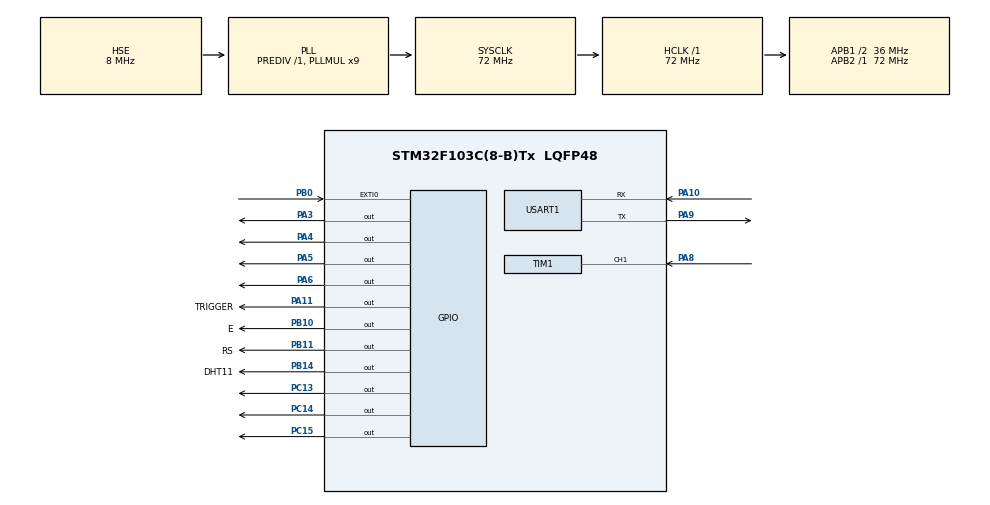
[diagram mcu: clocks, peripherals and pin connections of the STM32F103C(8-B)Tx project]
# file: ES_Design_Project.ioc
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Dma.Request0=USART1_RX
Dma.Request1=USART1_TX
Dma.USART1_RX.0.Direction=DMA_PERIPH_TO_MEMORY
Dma.USART1_RX.0.Instance=DMA1_Channel5
Dma.USART1_RX.0.MemDataAlignment=DMA_MDATAALIGN_BYTE
Dma.USART1_RX.0.MemInc=DMA_MINC_ENABLE
Dma.USART1_RX.0.Mode=DMA_NORMAL
Dma.USART1_RX.0.PeriphDataAlignment=DMA_PDATAALIGN_BYTE
Dma.USART1_RX.0.PeriphInc=DMA_PINC_DISABLE
Dma.USART1_RX.0.Priority=DMA_PRIORITY_LOW
Dma.USART1_TX.1.Direction=DMA_MEMORY_TO_PERIPH
Dma.USART1_TX.1.Instance=DMA1_Channel4
Dma.USART1_TX.1.MemDataAlignment=DMA_MDATAALIGN_BYTE
Dma.USART1_TX.1.MemInc=DMA_MINC_ENABLE
Dma.USART1_TX.1.Mode=DMA_NORMAL
Dma.USART1_TX.1.PeriphDataAlignment=DMA_PDATAALIGN_BYTE
Dma.USART1_TX.1.PeriphInc=DMA_PINC_DISABLE
Dma.USART1_TX.1.Priority=DMA_PRIORITY_LOW
Mcu.Family=STM32F1
Mcu.Name=STM32F103C(8-B)Tx
Mcu.Package=LQFP48
NVIC.DMA1_Channel4_IRQn=true\:1\:0\:true\:false\:true\:false\:true\:true
NVIC.DMA1_Channel5_IRQn=true\:1\:0\:true\:false\:true\:false\:true\:true
NVIC.EXTI0_IRQn=true\:0\:0\:false\:false\:true\:true\:true\:true
NVIC.PriorityGroup=NVIC_PRIORITYGROUP_4
NVIC.TIM1_CC_IRQn=true\:1\:0\:true\:false\:true\:true\:true\:true
NVIC.TIM1_UP_IRQn=true\:0\:0\:false\:false\:true\:true\:true\:true
NVIC.TIM4_IRQn=true\:1\:0\:true\:false\:true\:true\:true\:true
NVIC.USART1_IRQn=true\:1\:0\:true\:false\:true\:true\:true\:true
PA10.Mode=Asynchronous
PA10.Signal=USART1_RX
PA11.GPIO_Label=TRIGGER
PA11.Signal=GPIO_Output
PA13.Mode=Serial_Wire
PA13.Signal=SYS_JTMS-SWDIO
PA14.Mode=Serial_Wire
PA14.Signal=SYS_JTCK-SWCLK
PA3.Signal=GPIO_Output
PA4.Signal=GPIO_Output
PA5.Signal=GPIO_Output
PA6.Signal=GPIO_Output
PA8.Signal=S_TIM1_CH1
PA9.Mode=Asynchronous
PA9.Signal=USART1_TX
PB0.GPIO_ModeDefaultEXTI=GPIO_MODE_IT_FALLING
PB0.Signal=GPXTI0
PB10.GPIO_Label=E
PB10.Signal=GPIO_Output
PB11.GPIO_Label=RS
PB11.Signal=GPIO_Output
PB14.GPIO_Label=DHT11
PB14.Signal=GPIO_Output
PC13-TAMPER-RTC.PinState=GPIO_PIN_SET
PC13-TAMPER-RTC.Signal=GPIO_Output
PC14-OSC32_IN.PinState=GPIO_PIN_SET
PC14-OSC32_IN.Signal=GPIO_Output
PC15-OSC32_OUT.PinState=GPIO_PIN_SET
PC15-OSC32_OUT.Signal=GPIO_Output
PD0-OSC_IN.Mode=HSE-External-Oscillator
PD0-OSC_IN.Signal=RCC_OSC_IN
PD1-OSC_OUT.Mode=HSE-External-Oscillator
PD1-OSC_OUT.Signal=RCC_OSC_OUT
ProjectManager.HeapSize=0x200
ProjectManager.StackSize=0x400
ProjectManager.TargetToolchain=STM32CubeIDE
RCC.AHBFreq_Value=72000000
RCC.APB1CLKDivider=RCC_HCLK_DIV2
RCC.APB1Freq_Value=36000000
RCC.APB1TimFreq_Value=72000000
RCC.APB2Freq_Value=72000000
RCC.APB2TimFreq_Value=72000000
RCC.HCLKFreq_Value=72000000
RCC.PLLMUL=RCC_PLL_MUL9
RCC.PLLSourceVirtual=RCC_PLLSOURCE_HSE
RCC.SYSCLKFreq_VALUE=72000000
RCC.SYSCLKSource=RCC_SYSCLKSOURCE_PLLCLK
RCC.USBFreq_Value=72000000
SH.S_TIM1_CH1.0=TIM1_CH1,Input_Capture1_from_TI1
TIM1.Channel-Input_Capture1_from_TI1=TIM_CHANNEL_1
TIM1.Prescaler=71
TIM4.Period=50000
TIM4.Prescaler=7200 - 1
USART1.VirtualMode=VM_ASYNC
VP_TIM1_VS_ClockSourceINT.Mode=Internal
VP_TIM4_VS_ClockSourceINT.Mode=Internal
board=custom

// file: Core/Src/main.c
/* USER CODE BEGIN Header */
/**
  ******************************************************************************
  * @file           : main.c
  * @brief          : Main program body
  ******************************************************************************
  * @attention
  *
  * <h2><center>&copy; Copyright (c) 2020 STMicroelectronics.
  * All rights reserved.</center></h2>
  *
  * This software component is licensed by ST under BSD 3-Clause license,
  * the "License"; You may not use this file except in compliance with the
  * License. You may obtain a copy of the License at:
  *                        opensource.org/licenses/BSD-3-Clause
  *
  ******************************************************************************
  */
/* USER CODE END Header */
#include "main.h"

/* USER CODE BEGIN Includes */
#include "DHT.h"
#include "lcd16x2.h"
#include <stdio.h>
#include <string.h>
#include <math.h>
#include <stdbool.h>
/* USER CODE END Includes */

/* USER CODE BEGIN PTD */
typedef void (*Task_FunctionTypeDef) (void);
/* USER CODE END PTD */

/* USER CODE BEGIN PD */
#define TransmitBuff_SIZE	35
#define ReceiveBuff_SIZE	10
#define MainBuff_SIZE		8
#define Queue_SIZE			3
/* USER CODE END PD */

TIM_HandleTypeDef htim1;
TIM_HandleTypeDef htim4;

UART_HandleTypeDef huart1;
DMA_HandleTypeDef hdma_usart1_rx;
DMA_HandleTypeDef hdma_usart1_tx;

/* USER CODE BEGIN PV */
Task_FunctionTypeDef queue[Queue_SIZE];

/* Data of DHT11 Sensor */
float temp = 0;
float humi = 0;
uint8_t Rh_byte1, Rh_byte2, Temp_byte1, Temp_byte2;
uint16_t SUM, RH, TEMP;
uint8_t Presence = 0;

/* Data line of LCD1602*/
char data_line_1[16];
char data_line_2[16];

/* Data of HC-SR04 Sensor */
uint32_t IC_Val1 = 0;
uint32_t IC_Val2 = 0;
uint32_t Difference = 0;
uint8_t Is_First_Captured = 0;  // is the first value captured ?
uint8_t Distance  = 0;

/* Buffer Array */
uint8_t RxBuffer[ReceiveBuff_SIZE];
uint8_t TxBuffer[TransmitBuff_SIZE];
uint8_t MainBuffer[MainBuff_SIZE];

/* Period Time */
uint8_t DHT11_transmit_period;
uint8_t HCSR04_transmit_period;

/* Temperature Threshold */
uint8_t temp_threshold;

/* Humidity Threshold */
uint8_t humi_threshold;

/* Distance Threshold */
uint8_t dist_threshold;

/* Etc .. */
uint8_t cmd_index = 1;
uint8_t len = 0;

uint32_t start_tick = 0;
uint32_t stop_tick = 0;
uint32_t execute_tick = 0;

bool read_sensor_flag = 0;

uint16_t Count = 0;
uint16_t cnt = 0;
uint16_t cnt_1 = 0;
uint8_t isr_cnt = 0;

/* USER CODE END PV */

void SystemClock_Config(void);
static void MX_GPIO_Init(void);
static void MX_DMA_Init(void);
static void MX_TIM4_Init(void);
static void MX_USART1_UART_Init(void);
static void MX_TIM1_Init(void);
/* USER CODE BEGIN PFP */
// Hiển thị LCD
void LCD_Display(void);

// Nhận UART
void HAL_UARTEx_RxEventCallback(UART_HandleTypeDef *huart, uint16_t Size);

// Xử lý lệnh UART
void processRecCmd(size_t len);

// Truyen du lieu DHT11 qua UART
void DHT11_UART_Transmit(void);

// Truyen du lieu HSR04 qua UART
void HSR04_UART_Transmit(void);

// Truyen du lieu DHT11 và HSR04 qua UART
void DHT11_HSR04_UART_Transmit(void);

// Delay microsecond
void delay_us(uint16_t time);

// Hàm Callback khi sóng siêu âm phản hồi v�? để đo khoảng cách
void HAL_TIM_IC_CaptureCallback(TIM_HandleTypeDef *htim);

// Hàm ngắt Timer
void HAL_TIM_PeriodElapsedCallback(TIM_HandleTypeDef *htim);

// Set chân cho DHT11
void Set_Pin_Output(GPIO_TypeDef *GPIOx, uint16_t GPIO_Pin);
void Set_Pin_Input(GPIO_TypeDef *GPIOx, uint16_t GPIO_Pin);

// Khởi tạo giao tiếp giữa DHT11 với Vi đi�?u khiển
void DHT11_Start(void);

// Kiểm tra phản hồi của DHT11
uint8_t DHT11_Check_Response(void);

uint8_t DHT11_Read(void);

// �?�?c cảm biến DHT11
void Read_DHT11_Sensor(void);

// �?�?c cảm biến HCSR04
void Read_HCSR04_Sensor(void);
/* USER CODE END PFP */

/* USER CODE BEGIN 0 */

// Set period, threshold value by button
void HAL_GPIO_EXTI_Callback(uint16_t GPIO_Pin)
{
	start_tick = HAL_GetTick();
	UNUSED(GPIO_Pin);
	if(GPIO_Pin == GPIO_PIN_0){
		isr_cnt++;
		/* Nhan nut lan 1, dat chu ky truyen UART cac cam bien la 1s */
		if(isr_cnt == 1){
			DHT11_transmit_period = 1;
			HCSR04_transmit_period = 1;
			HAL_GPIO_WritePin(GPIOC, GPIO_PIN_13, GPIO_PIN_SET);
			HAL_GPIO_WritePin(GPIOC, GPIO_PIN_14, GPIO_PIN_SET);
			HAL_GPIO_WritePin(GPIOC, GPIO_PIN_15, GPIO_PIN_RESET);
		}
		/* Nhan nut lan 2, dat chu ky truyen UART cac cam bien la 2s */
		else if(isr_cnt == 2){
			DHT11_transmit_period = 2;
			HCSR04_transmit_period = 2;
			HAL_GPIO_WritePin(GPIOC, GPIO_PIN_13, GPIO_PIN_SET);
			HAL_GPIO_WritePin(GPIOC, GPIO_PIN_14, GPIO_PIN_RESET);
			HAL_GPIO_WritePin(GPIOC, GPIO_PIN_15, GPIO_PIN_SET);
		}
		/* Nhan nut lan 3, dat chu ky truyen UART cac cam bien la 3s */
		else if(isr_cnt == 3){
			DHT11_transmit_period = 3;
			HCSR04_transmit_period = 3;
			HAL_GPIO_WritePin(GPIOC, GPIO_PIN_13, GPIO_PIN_RESET);
			HAL_GPIO_WritePin(GPIOC, GPIO_PIN_14, GPIO_PIN_SET);
			HAL_GPIO_WritePin(GPIOC, GPIO_PIN_15, GPIO_PIN_SET);
			isr_cnt = 0;
		}
	}
	//while(HAL_GPIO_ReadPin(GPIOB, GPIO_PIN_0) == GPIO_PIN_RESET);
	stop_tick = HAL_GetTick();
	execute_tick = stop_tick - start_tick;
}

void delay_us(uint16_t time)
{
	__HAL_TIM_SET_COUNTER(&htim1, 0);
	while (__HAL_TIM_GET_COUNTER (&htim1) < time);
}

void HAL_TIM_IC_CaptureCallback(TIM_HandleTypeDef *htim)
{
	if (htim->Channel == HAL_TIM_ACTIVE_CHANNEL_1)  // if the interrupt source is channel1
	{
		if (Is_First_Captured==0) // if the first value is not captured
		{
			IC_Val1 = HAL_TIM_ReadCapturedValue(htim, TIM_CHANNEL_1); // read the first value
			Is_First_Captured = 1;  // set the first captured as true
			// Now change the polarity to falling edge
			__HAL_TIM_SET_CAPTUREPOLARITY(htim, TIM_CHANNEL_1, TIM_INPUTCHANNELPOLARITY_FALLING);
		}

		else if (Is_First_Captured==1)   // if the first is already captured
		{
			IC_Val2 = HAL_TIM_ReadCapturedValue(htim, TIM_CHANNEL_1);  // read second value
			__HAL_TIM_SET_COUNTER(htim, 0);  // reset the counter

			if (IC_Val2 > IC_Val1)
			{
				Difference = IC_Val2-IC_Val1;
			}

			else if (IC_Val1 > IC_Val2)
			{
				Difference = (0xffff - IC_Val1) + IC_Val2;
			}

			Distance = Difference * .034/2;
			Is_First_Captured = 0; // set it back to false

			// set polarity to rising edge
			__HAL_TIM_SET_CAPTUREPOLARITY(htim, TIM_CHANNEL_1, TIM_INPUTCHANNELPOLARITY_RISING);
			__HAL_TIM_DISABLE_IT(&htim1, TIM_IT_CC1);
			stop_tick = HAL_GetTick();
			execute_tick = stop_tick - start_tick;

		}
	}
}

void Read_HCSR04_Sensor(void)
{
	HAL_GPIO_WritePin(TRIGGER_GPIO_Port, TRIGGER_Pin, GPIO_PIN_SET);  // pull the TRIG pin HIGH
	delay_us(10);  // wait for 10 us
	HAL_GPIO_WritePin(TRIGGER_GPIO_Port, TRIGGER_Pin, GPIO_PIN_RESET);  // pull the TRIG pin low
	__HAL_TIM_ENABLE_IT(&htim1, TIM_IT_CC1);
}

void LCD_Display(void){
	sprintf(data_line_1,"TEMP HUMI DIST");
	sprintf(data_line_2,"%dC %d  %d", (int)temp, (int)humi,(int)Distance);
	lcd16x2_1stLine();
	lcd16x2_printf(data_line_1);
	lcd16x2_2ndLine();
	lcd16x2_printf(data_line_2);
}

void DHT11_UART_Transmit(void){
	memset(TxBuffer, 0, TransmitBuff_SIZE);
	sprintf((char*)TxBuffer, "Temp: %doC, Humi: %d%%\n", (int) temp, (int) humi);
	for(size_t i = 0; i < sizeof(TxBuffer); i++){
		if(TxBuffer[i] == '\0'){
			len = i + 1;
		}
	}
	HAL_UART_Transmit_DMA(&huart1, TxBuffer, sizeof(TxBuffer));
}

void HSR04_UART_Transmit(void){
	memset(TxBuffer, 0, TransmitBuff_SIZE);
	sprintf((char*)TxBuffer, "Dist: %d cm\n", (int)Distance);
	for(size_t i = 0; i < sizeof(TxBuffer); i++){
		if(TxBuffer[i] == '\0'){
			len = i + 1;
		}
	}
	HAL_UART_Transmit_DMA(&huart1, TxBuffer, sizeof(TxBuffer));

}

void DHT11_HSR04_UART_Transmit(void){
	memset(TxBuffer, 0, TransmitBuff_SIZE);
	sprintf((char*)TxBuffer, "Temp: %doC, Humi: %d%%, Dist: %dcm", (int) temp, (int) humi, (int)Distance);
	for(size_t i = 0; i < sizeof(TxBuffer); i++){
		if(TxBuffer[i] == '\0'){
			len = i + 1;
		}
	}
	HAL_UART_Transmit_DMA(&huart1, TxBuffer, len);
}

void processRecCmd(size_t len){
	if(MainBuffer[0] != 0x00 || MainBuffer[len-1] != 0x07){
		return;
	};

	uint8_t cmd_type = MainBuffer[cmd_index]; // MainBuffer[1]

	switch (cmd_type) {
		case 0x01:
			/* some codes */
			DHT11_UART_Transmit();
			//HSR04_UART_Transmit();
		  break;

		case 0x02:
			/* some codes */
			//HSR04_UART_Transmit();
			//DHT11_HSR04_UART_Transmit();

			/* Xoa thong so cai dat tu nut nhan */
			HAL_GPIO_WritePin(GPIOC, GPIO_PIN_13, GPIO_PIN_SET);
			HAL_GPIO_WritePin(GPIOC, GPIO_PIN_14, GPIO_PIN_SET);
			HAL_GPIO_WritePin(GPIOC, GPIO_PIN_15, GPIO_PIN_SET);
			isr_cnt = 0;

			/* Dat cac thong so cai dat tu lenh UART */
			DHT11_transmit_period = MainBuffer[2];
			HCSR04_transmit_period = MainBuffer[3];
			temp_threshold = MainBuffer[4];
			humi_threshold = MainBuffer[5];
			dist_threshold = MainBuffer[6];
		  break;

		default:
		  break;
	}
}

void HAL_UARTEx_RxEventCallback(UART_HandleTypeDef *huart, uint16_t Size){
	if(huart->Instance == USART1){
		for(size_t i = 0; i<Size-1; i++) {
			if(RxBuffer[i] == 0x00){
				memcpy(MainBuffer, &RxBuffer[i], Size-i);
				processRecCmd(Size-i);
				break;
			}
		}
		HAL_UARTEx_ReceiveToIdle_DMA(&huart1, RxBuffer, MainBuff_SIZE);
		__HAL_DMA_DISABLE_IT(&hdma_usart1_rx, DMA_IT_HT);
	}
}

void HAL_TIM_PeriodElapsedCallback(TIM_HandleTypeDef *htim)
{
  // Check which version of the timer triggered this callback and toggle LED
  if (htim == &htim4)
  {
	  Count++;
	  read_sensor_flag = true;
  }
}

void Set_Pin_Output (GPIO_TypeDef *GPIOx, uint16_t GPIO_Pin)
{
	GPIO_InitTypeDef GPIO_InitStruct = {0};
	GPIO_InitStruct.Pin = GPIO_Pin;
	GPIO_InitStruct.Mode = GPIO_MODE_OUTPUT_PP;
	GPIO_InitStruct.Speed = GPIO_SPEED_FREQ_LOW;
	HAL_GPIO_Init(GPIOx, &GPIO_InitStruct);
}

void Set_Pin_Input (GPIO_TypeDef *GPIOx, uint16_t GPIO_Pin)
{
	GPIO_InitTypeDef GPIO_InitStruct = {0};
	GPIO_InitStruct.Pin = GPIO_Pin;
	GPIO_InitStruct.Mode = GPIO_MODE_INPUT;
	GPIO_InitStruct.Pull = GPIO_PULLUP;
	HAL_GPIO_Init(GPIOx, &GPIO_InitStruct);
}

void DHT11_Start (void)
{
	Set_Pin_Output (DHT11_GPIO_Port, DHT11_Pin);  // set the pin as output
	HAL_GPIO_WritePin (DHT11_GPIO_Port, DHT11_Pin, 0);   // pull the pin low
	delay_us(25000);   // wait for 25ms
    HAL_GPIO_WritePin(DHT11_GPIO_Port, DHT11_Pin, 1);   // pull the pin high
	delay_us(25);   // wait for 25us
	Set_Pin_Input(DHT11_GPIO_Port, DHT11_Pin);    // set as input
}

uint8_t DHT11_Check_Response(void)
{
	uint8_t Response = 0;
	delay_us(40);
	if (!(HAL_GPIO_ReadPin(DHT11_GPIO_Port, DHT11_Pin)))
	{
		delay_us(80);
		if ((HAL_GPIO_ReadPin(DHT11_GPIO_Port, DHT11_Pin))) Response = 1;
		else Response = -1; // 255
	}
	else{
		return Response;
	}
	while ((HAL_GPIO_ReadPin(DHT11_GPIO_Port, DHT11_Pin)));   // wait for the pin to go low

	return Response;
}

uint8_t DHT11_Read(void)
{
	uint8_t i,j;
	for (j=0;j<8;j++)
	{
		while (!(HAL_GPIO_ReadPin(DHT11_GPIO_Port, DHT11_Pin)));   // wait for the pin to go high
		delay_us(40);   // wait for 40 us
		if (!(HAL_GPIO_ReadPin(DHT11_GPIO_Port, DHT11_Pin)))   // if the pin is low
		{
			i&= ~(1<<(7-j));   // write 0
		}
		else{
			i|= (1<<(7-j));  // if the pin is high, write 1
		}
		while ((HAL_GPIO_ReadPin(DHT11_GPIO_Port, DHT11_Pin)));  // wait for the pin to go low
	}
	return i;
}

void Read_DHT11_Sensor(void){
	//start_tick = HAL_GetTick();
	DHT11_Start();
    Presence = DHT11_Check_Response();
    if(Presence){
    	Rh_byte1 = DHT11_Read();
    	Rh_byte2 = DHT11_Read();
    	Temp_byte1 = DHT11_Read();
    	Temp_byte2 = DHT11_Read();
    	SUM = DHT11_Read();
    	TEMP = Temp_byte1;
    	RH = Rh_byte1;
    	temp = (float)TEMP;
    	humi = (float)RH;
    }
    //stop_tick = HAL_GetTick();
    //execute_tick = stop_tick - start_tick;
}
/* USER CODE END 0 */

int main(void)
{

  /* MCU Configuration--------------------------------------------------------*/

  /* Reset of all peripherals, Initializes the Flash interface and the Systick. */
  HAL_Init();

  /* Configure the system clock */
  SystemClock_Config();

  /* Initialize all configured peripherals */
  MX_GPIO_Init();
  MX_DMA_Init();
  MX_TIM4_Init();
  MX_USART1_UART_Init();
  MX_TIM1_Init();
  /* USER CODE BEGIN 2 */
  queue[0] = Read_HCSR04_Sensor;
  queue[1] = Read_DHT11_Sensor;
  queue[2] = LCD_Display;
  lcd16x2_init_4bits(GPIOB, RS_Pin, E_Pin, GPIOA, GPIO_PIN_3, GPIO_PIN_4, GPIO_PIN_5, GPIO_PIN_6);

  HAL_TIM_Base_Start_IT(&htim4);
  __HAL_TIM_ENABLE_IT(&htim4, TIM_IT_UPDATE);
  HAL_TIM_IC_Start_IT(&htim1, TIM_CHANNEL_1);
  HAL_UARTEx_ReceiveToIdle_DMA(&huart1, RxBuffer, MainBuff_SIZE);
  __HAL_DMA_DISABLE_IT(&hdma_usart1_rx, DMA_IT_HT);

  /* USER CODE END 2 */

  /* Infinite loop */
  while (1)
  {

    /* USER CODE BEGIN 3 */
	 // HAL_NVIC_EnableIRQ(EXTI0_IRQn);
	  if(read_sensor_flag){
		  read_sensor_flag = 0;
		  //DHT_ReadTempHum(&DHT11);
		  //temp = DHT11.Temp;
		  //humi = DHT11.Humi;
		  Read_DHT11_Sensor();
	  }

  }
  /* USER CODE END 3 */
}

void SystemClock_Config(void)
{
  RCC_OscInitTypeDef RCC_OscInitStruct = {0};
  RCC_ClkInitTypeDef RCC_ClkInitStruct = {0};

  /** Initializes the RCC Oscillators according to the specified parameters
  * in the RCC_OscInitTypeDef structure.
  */
  RCC_OscInitStruct.OscillatorType = RCC_OSCILLATORTYPE_HSE;
  RCC_OscInitStruct.HSEState = RCC_HSE_ON;
  RCC_OscInitStruct.HSEPredivValue = RCC_HSE_PREDIV_DIV1;
  RCC_OscInitStruct.HSIState = RCC_HSI_ON;
  RCC_OscInitStruct.PLL.PLLState = RCC_PLL_ON;
  RCC_OscInitStruct.PLL.PLLSource = RCC_PLLSOURCE_HSE;
  RCC_OscInitStruct.PLL.PLLMUL = RCC_PLL_MUL9;
  if (HAL_RCC_OscConfig(&RCC_OscInitStruct) != HAL_OK)
  {
    Error_Handler();
  }

  /** Initializes the CPU, AHB and APB buses clocks
  */
  RCC_ClkInitStruct.ClockType = RCC_CLOCKTYPE_HCLK|RCC_CLOCKTYPE_SYSCLK
                              |RCC_CLOCKTYPE_PCLK1|RCC_CLOCKTYPE_PCLK2;
  RCC_ClkInitStruct.SYSCLKSource = RCC_SYSCLKSOURCE_PLLCLK;
  RCC_ClkInitStruct.AHBCLKDivider = RCC_SYSCLK_DIV1;
  RCC_ClkInitStruct.APB1CLKDivider = RCC_HCLK_DIV2;
  RCC_ClkInitStruct.APB2CLKDivider = RCC_HCLK_DIV1;

  if (HAL_RCC_ClockConfig(&RCC_ClkInitStruct, FLASH_LATENCY_2) != HAL_OK)
  {
    Error_Handler();
  }
}

static void MX_TIM1_Init(void)
{

  TIM_ClockConfigTypeDef sClockSourceConfig = {0};
  TIM_MasterConfigTypeDef sMasterConfig = {0};
  TIM_IC_InitTypeDef sConfigIC = {0};

  htim1.Instance = TIM1;
  htim1.Init.Prescaler = 71;
  htim1.Init.CounterMode = TIM_COUNTERMODE_UP;
  htim1.Init.Period = 65535;
  htim1.Init.ClockDivision = TIM_CLOCKDIVISION_DIV1;
  htim1.Init.RepetitionCounter = 0;
  htim1.Init.AutoReloadPreload = TIM_AUTORELOAD_PRELOAD_DISABLE;
  if (HAL_TIM_Base_Init(&htim1) != HAL_OK)
  {
    Error_Handler();
  }
  sClockSourceConfig.ClockSource = TIM_CLOCKSOURCE_INTERNAL;
  if (HAL_TIM_ConfigClockSource(&htim1, &sClockSourceConfig) != HAL_OK)
  {
    Error_Handler();
  }
  if (HAL_TIM_IC_Init(&htim1) != HAL_OK)
  {
    Error_Handler();
  }
  sMasterConfig.MasterOutputTrigger = TIM_TRGO_RESET;
  sMasterConfig.MasterSlaveMode = TIM_MASTERSLAVEMODE_DISABLE;
  if (HAL_TIMEx_MasterConfigSynchronization(&htim1, &sMasterConfig) != HAL_OK)
  {
    Error_Handler();
  }
  sConfigIC.ICPolarity = TIM_INPUTCHANNELPOLARITY_RISING;
  sConfigIC.ICSelection = TIM_ICSELECTION_DIRECTTI;
  sConfigIC.ICPrescaler = TIM_ICPSC_DIV1;
  sConfigIC.ICFilter = 0;
  if (HAL_TIM_IC_ConfigChannel(&htim1, &sConfigIC, TIM_CHANNEL_1) != HAL_OK)
  {
    Error_Handler();
  }

}

static void MX_TIM4_Init(void)
{

  TIM_ClockConfigTypeDef sClockSourceConfig = {0};
  TIM_MasterConfigTypeDef sMasterConfig = {0};

  htim4.Instance = TIM4;
  htim4.Init.Prescaler = 7200 - 1;
  htim4.Init.CounterMode = TIM_COUNTERMODE_UP;
  htim4.Init.Period = 50000;
  htim4.Init.ClockDivision = TIM_CLOCKDIVISION_DIV1;
  htim4.Init.AutoReloadPreload = TIM_AUTORELOAD_PRELOAD_DISABLE;
  if (HAL_TIM_Base_Init(&htim4) != HAL_OK)
  {
    Error_Handler();
  }
  sClockSourceConfig.ClockSource = TIM_CLOCKSOURCE_INTERNAL;
  if (HAL_TIM_ConfigClockSource(&htim4, &sClockSourceConfig) != HAL_OK)
  {
    Error_Handler();
  }
  sMasterConfig.MasterOutputTrigger = TIM_TRGO_RESET;
  sMasterConfig.MasterSlaveMode = TIM_MASTERSLAVEMODE_DISABLE;
  if (HAL_TIMEx_MasterConfigSynchronization(&htim4, &sMasterConfig) != HAL_OK)
  {
    Error_Handler();
  }

}

static void MX_USART1_UART_Init(void)
{

  huart1.Instance = USART1;
  huart1.Init.BaudRate = 115200;
  huart1.Init.WordLength = UART_WORDLENGTH_8B;
  huart1.Init.StopBits = UART_STOPBITS_1;
  huart1.Init.Parity = UART_PARITY_NONE;
  huart1.Init.Mode = UART_MODE_TX_RX;
  huart1.Init.HwFlowCtl = UART_HWCONTROL_NONE;
  huart1.Init.OverSampling = UART_OVERSAMPLING_16;
  if (HAL_UART_Init(&huart1) != HAL_OK)
  {
    Error_Handler();
  }

}

static void MX_DMA_Init(void)
{

  /* DMA controller clock enable */
  __HAL_RCC_DMA1_CLK_ENABLE();

  /* DMA interrupt init */
  /* DMA1_Channel4_IRQn interrupt configuration */
  HAL_NVIC_SetPriority(DMA1_Channel4_IRQn, 1, 0);
  HAL_NVIC_EnableIRQ(DMA1_Channel4_IRQn);
  /* DMA1_Channel5_IRQn interrupt configuration */
  HAL_NVIC_SetPriority(DMA1_Channel5_IRQn, 1, 0);
  HAL_NVIC_EnableIRQ(DMA1_Channel5_IRQn);

}

static void MX_GPIO_Init(void)
{
  GPIO_InitTypeDef GPIO_InitStruct = {0};

  /* GPIO Ports Clock Enable */
  __HAL_RCC_GPIOC_CLK_ENABLE();
  __HAL_RCC_GPIOD_CLK_ENABLE();
  __HAL_RCC_GPIOA_CLK_ENABLE();
  __HAL_RCC_GPIOB_CLK_ENABLE();

  /*Configure GPIO pin Output Level */
  HAL_GPIO_WritePin(GPIOC, GPIO_PIN_13|GPIO_PIN_14|GPIO_PIN_15, GPIO_PIN_SET);

  /*Configure GPIO pin Output Level */
  HAL_GPIO_WritePin(GPIOA, GPIO_PIN_3|GPIO_PIN_4|GPIO_PIN_5|GPIO_PIN_6
                          |TRIGGER_Pin, GPIO_PIN_RESET);

  /*Configure GPIO pin Output Level */
  HAL_GPIO_WritePin(GPIOB, E_Pin|RS_Pin|DHT11_Pin, GPIO_PIN_RESET);

  /*Configure GPIO pins : PC13 PC14 PC15 */
  GPIO_InitStruct.Pin = GPIO_PIN_13|GPIO_PIN_14|GPIO_PIN_15;
  GPIO_InitStruct.Mode = GPIO_MODE_OUTPUT_PP;
  GPIO_InitStruct.Pull = GPIO_NOPULL;
  GPIO_InitStruct.Speed = GPIO_SPEED_FREQ_LOW;
  HAL_GPIO_Init(GPIOC, &GPIO_InitStruct);

  /*Configure GPIO pins : PA3 PA4 PA5 PA6
                           TRIGGER_Pin */
  GPIO_InitStruct.Pin = GPIO_PIN_3|GPIO_PIN_4|GPIO_PIN_5|GPIO_PIN_6
                          |TRIGGER_Pin;
  GPIO_InitStruct.Mode = GPIO_MODE_OUTPUT_PP;
  GPIO_InitStruct.Pull = GPIO_NOPULL;
  GPIO_InitStruct.Speed = GPIO_SPEED_FREQ_LOW;
  HAL_GPIO_Init(GPIOA, &GPIO_InitStruct);

  /*Configure GPIO pin : PB0 */
  GPIO_InitStruct.Pin = GPIO_PIN_0;
  GPIO_InitStruct.Mode = GPIO_MODE_IT_FALLING;
  GPIO_InitStruct.Pull = GPIO_NOPULL;
  HAL_GPIO_Init(GPIOB, &GPIO_InitStruct);

  /*Configure GPIO pins : E_Pin RS_Pin DHT11_Pin */
  GPIO_InitStruct.Pin = E_Pin|RS_Pin|DHT11_Pin;
  GPIO_InitStruct.Mode = GPIO_MODE_OUTPUT_PP;
  GPIO_InitStruct.Pull = GPIO_NOPULL;
  GPIO_InitStruct.Speed = GPIO_SPEED_FREQ_LOW;
  HAL_GPIO_Init(GPIOB, &GPIO_InitStruct);

  /* EXTI interrupt init*/
  HAL_NVIC_SetPriority(EXTI0_IRQn, 0, 0);
  HAL_NVIC_EnableIRQ(EXTI0_IRQn);

}

void Error_Handler(void)
{
}
